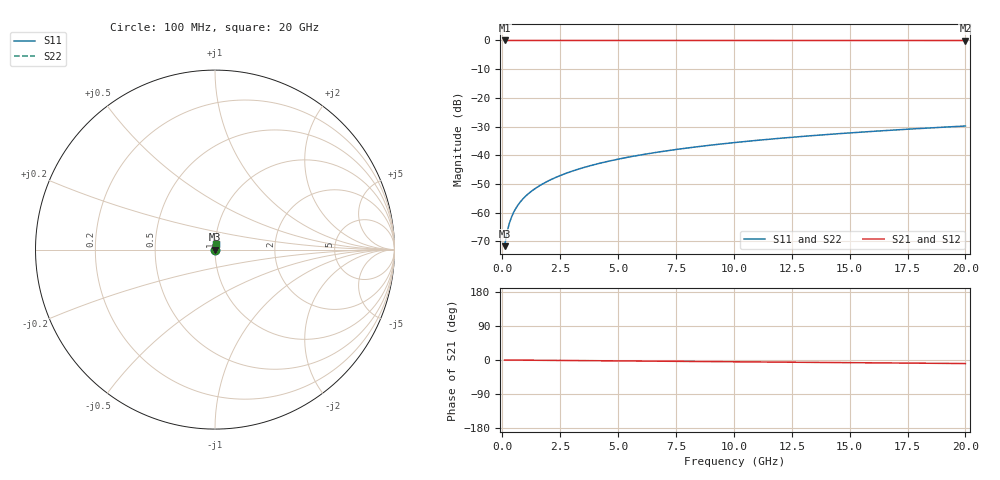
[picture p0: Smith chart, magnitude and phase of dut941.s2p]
! Touchstone file exported from HFSS 2026.1.0
!  File:  C:/ffzhzh/LocalFiles/Ansys_Project_Files/temp_train_TSV_941_1783187050_18472.aedt
!  Generated:  01:45:41 AM Jul  5, 2026
!  Design:  TSV
!  Project:  temp_train_TSV_941_1783187050_18472
! Variables:
!  h_bsmrdl = 2um
!  h_ox = 20um
!  h_rdl = 5um
!  h_sub = 91.34um
!  h_tmrdl = 5um
!  h_tsv = 91.34um
!  h_via = 3um
!  l_bsmrdl = 300um
!  l_sub = 418.62um
!  l_tmrdl = 200um
!  m_sub = 200um
!  pitch = 48.15um
!  r_tsv = 9.31um
!  s_tmrdl = 10um
!  w_bsmrdl = 18um
!  w_sub = 500um
!  w_tmrdl = 12um
!  x_tsv_center1 = 206um
!  x_tsv_center2 = 524um
!  x_tsv_center3 = 736um
!  x_tsv_center4 = 1054um
!  x_tsv_center5 = 1266um
!  x_tsv_center6 = 1584um
# GHz S MA R 50.000000
! Terminal data exported
! Port[1] = TSV1_1_T1
! Port[2] = TSV1_1_T2
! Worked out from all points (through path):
!   200 points, 100 MHz to 20 GHz, reference 50 ohm
!   highest |S21| = 0.00 dB at 100 MHz (marker M1); lowest = 0.0 dB at 20 GHz (marker M2)
!   group delay of S21, straight-line fit = 1.29 ps
!   lowest |S11| = -71.7 dB at 100 MHz (marker M3), VSWR 1.00, Z = 50 + j0.0209 ohm
!   |S11| at or under -10 dB: start of sweep to end of sweep
!   |S22| runs from -71.7 to -29.8 dB; largest |S21 - S12| = 5.5e-15
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0.1  0.0002603 53.2  0.9998 -0.0  0.9998 -0.0  0.0002603 53.2
! Gamma 0 0 0 0
! Port Impedance 50 0 50 0
0.2  0.0004472 67.9  0.9998 -0.1  0.9998 -0.1  0.0004472 67.9
0.3  0.0006436 73.1  0.9998 -0.1  0.9998 -0.1  0.0006436 73.1
0.4  0.0008385 75.5  0.9998 -0.2  0.9998 -0.2  0.0008385 75.5
0.5  0.001029 76.7  0.9998 -0.2  0.9998 -0.2  0.001029 76.7
0.6  0.001215 77.5  0.9997 -0.3  0.9997 -0.3  0.001215 77.5
0.7  0.001396 78.0  0.9997 -0.3  0.9997 -0.3  0.001396 78.0
0.8  0.001574 78.4  0.9997 -0.4  0.9997 -0.4  0.001574 78.4
1  0.001921 79.1  0.9996 -0.5  0.9996 -0.5  0.001921 79.1
1.4  0.002596 80.2  0.9996 -0.7  0.9996 -0.7  0.002596 80.2
1.7  0.003096 80.8  0.9995 -0.8  0.9995 -0.8  0.003096 80.8
2  0.003595 81.3  0.9995 -1.0  0.9995 -1.0  0.003595 81.3
2.7  0.004757 82.1  0.9994 -1.3  0.9994 -1.3  0.004757 82.1
3.5  0.00608 82.5  0.9994 -1.7  0.9994 -1.7  0.00608 82.5
4.2  0.007231 82.7  0.9993 -2.0  0.9993 -2.0  0.007231 82.7
5  0.008539 82.7  0.9992 -2.4  0.9992 -2.4  0.008539 82.7
6.8  0.01145 82.5  0.9991 -3.2  0.9991 -3.2  0.01145 82.5
8.3  0.01386 82.1  0.9989 -3.9  0.9989 -3.9  0.01386 82.1
10.1  0.01674 81.7  0.9988 -4.7  0.9988 -4.7  0.01674 81.7
13.4  0.02197 80.6  0.9986 -6.3  0.9986 -6.3  0.02197 80.6
16.7  0.02716 79.4  0.9983 -7.8  0.9983 -7.8  0.02716 79.4
20  0.03228 78.0  0.998 -9.3  0.998 -9.3  0.03228 78.0
